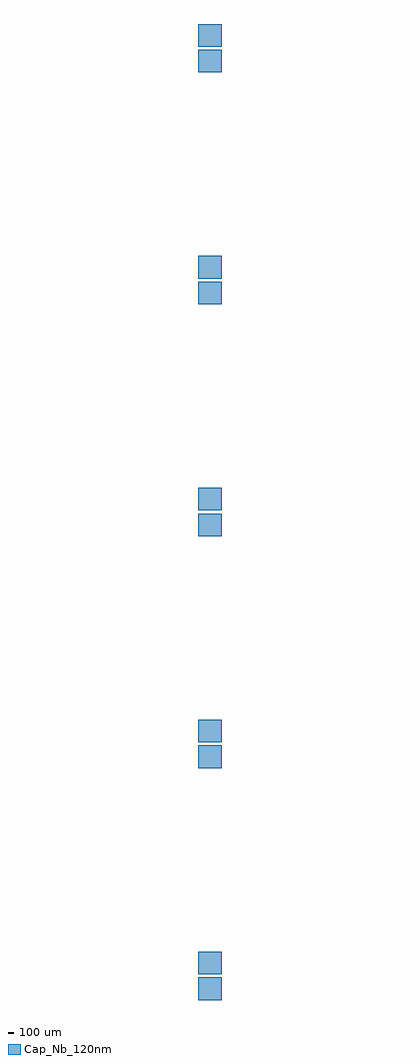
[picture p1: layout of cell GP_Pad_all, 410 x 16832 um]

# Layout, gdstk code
import gdstk
lib = gdstk.Library(unit=1e-6, precision=1e-09)
def R(c, l, rs):  # rectangles x0, y0, x1, y1
    for r in rs: c.add(gdstk.rectangle(r[:2], r[2:], *l))
Cap_Nb_120nm = (6, 0)

gp_pad = lib.new_cell('GP_Pad')
R(gp_pad, Cap_Nb_120nm, [(-205,-416,205,-26), (-205,26,205,416)])

gp_pad_all = lib.new_cell('GP_Pad_all')
r = gdstk.Reference(gp_pad, (0,-8000)); r.repetition = gdstk.Repetition(1, 5, v1=(0,0), v2=(0,4000)); gp_pad_all.add(r)

lib.write_gds('GP_Pad_all.gds')
